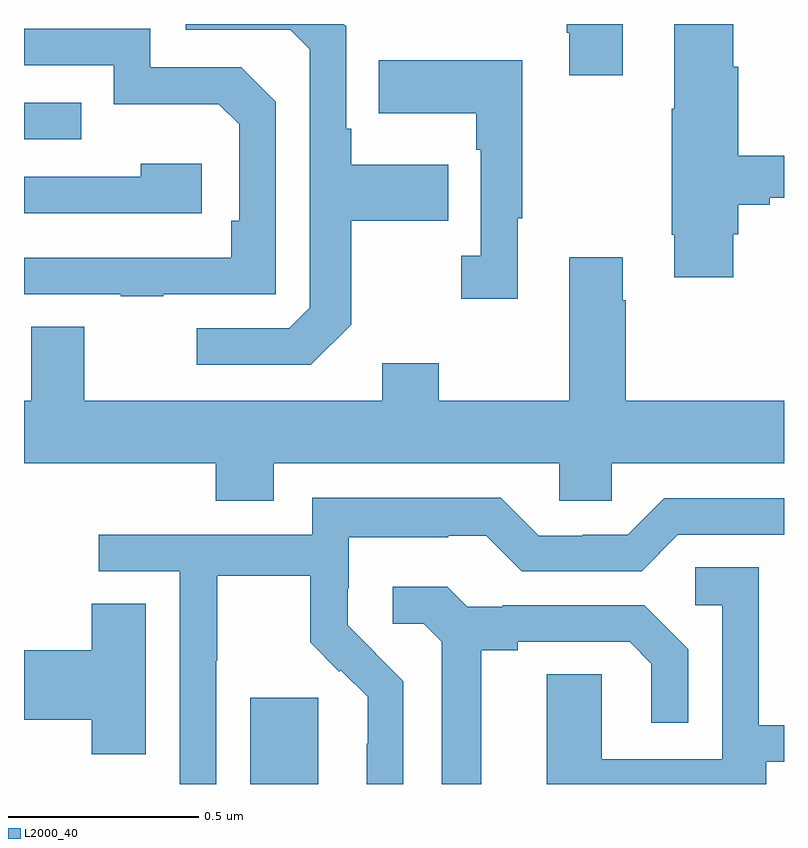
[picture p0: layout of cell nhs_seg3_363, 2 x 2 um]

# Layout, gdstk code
import gdstk
lib = gdstk.Library(unit=1e-6, precision=1e-09)
def R(c, l, rs):  # rectangles x0, y0, x1, y1
    for r in rs: c.add(gdstk.rectangle(r[:2], r[2:], *l))
def P(c, l, *ps):  # polygons
    for p in ps: c.add(gdstk.Polygon(p, *l))
L2000_40 = (2000, 40)

nhs_seg3_363 = lib.new_cell('nhs_seg3_363')
R(nhs_seg3_363, L2000_40, [(115.595,705.4,115.774,705.627), (115,707.097,115.151,707.193)])
P(nhs_seg3_363, L2000_40, [(116.575,707.4),(116.428,707.4),(116.428,707.377),(116.435,707.377),(116.435,707.265),(116.575,707.265)],
  [(115.861,706.609),(115.861,706.882),(116.117,706.882),(116.117,707.029),(115.861,707.029),(115.861,707.125),(115.848,707.125),(115.848,707.394),(115.842,707.4),(115.425,707.4),(115.425,707.385),(115.701,707.385),(115.752,707.334),(115.752,706.653),(115.698,706.599),(115.455,706.599),(115.455,706.503),(115.755,706.503)],
  [(116.866,706.847),(116.879,706.847),(116.879,706.924),(116.962,706.924),(116.962,706.943),(117,706.943),(117,707.053),(116.879,707.053),(116.879,707.288),(116.866,707.288),(116.866,707.4),(116.711,707.4),(116.711,707.177),(116.704,707.177),(116.704,706.846),(116.711,706.846),(116.711,706.734),(116.866,706.734)],
  [(115.367,706.689),(115.662,706.689),(115.662,707.196),(115.572,707.286),(115.332,707.286),(115.332,707.388),(115,707.388),(115,707.292),(115.236,707.292),(115.236,707.189),(115.513,707.189),(115.566,707.136),(115.566,706.882),(115.546,706.882),(115.546,706.785),(115,706.785),(115,706.689),(115.255,706.689),(115.255,706.684),(115.367,706.684)],
  [(116.299,706.889),(116.311,706.889),(116.311,707.305),(115.933,707.305),(115.933,707.165),(116.19,707.165),(116.19,707.069),(116.202,707.069),(116.202,706.79),(116.151,706.79),(116.151,706.677),(116.299,706.677)],
  [(115.468,707.032),(115.307,707.032),(115.307,706.998),(115,706.998),(115,706.902),(115.468,706.902)],
  [(115.657,706.244),(116.409,706.244),(116.409,706.146),(116.547,706.146),(116.547,706.244),(117,706.244),(117,706.408),(116.583,706.408),(116.583,706.673),(116.575,706.673),(116.575,706.786),(116.435,706.786),(116.435,706.408),(116.091,706.408),(116.091,706.507),(115.943,706.507),(115.943,706.408),(115.159,706.408),(115.159,706.603),(115.019,706.603),(115.019,706.408),(115,706.408),(115,706.244),(115.505,706.244),(115.505,706.145),(115.657,706.145)],
  [(115.506,705.724),(115.509,705.724),(115.509,705.948),(115.753,705.948),(115.753,705.773),(115.83,705.696),(115.833,705.699),(115.904,705.629),(115.904,705.506),(115.902,705.506),(115.902,705.4),(115.998,705.4),(115.998,705.67),(115.925,705.743),(115.926,705.744),(115.852,705.818),(115.852,705.915),(115.854,705.915),(115.854,706.049),(116.117,706.049),(116.117,706.053),(116.217,706.053),(116.31,705.96),(116.625,705.96),(116.721,706.056),(117,706.056),(117,706.152),(116.685,706.152),(116.589,706.056),(116.471,706.056),(116.471,706.053),(116.355,706.053),(116.255,706.153),(115.758,706.153),(115.758,706.056),(115.197,706.056),(115.197,705.96),(115.41,705.96),(115.41,705.4),(115.506,705.4)],
  [(116.953,705.459),(117,705.459),(117,705.555),(116.934,705.555),(116.934,705.971),(116.766,705.971),(116.766,705.87),(116.838,705.87),(116.838,705.465),(116.52,705.465),(116.52,705.689),(116.375,705.689),(116.375,705.4),(116.953,705.4)],
  [(116.203,705.752),(116.299,705.752),(116.299,705.774),(116.594,705.774),(116.651,705.717),(116.651,705.561),(116.748,705.561),(116.748,705.754),(116.632,705.87),(116.26,705.87),(116.26,705.867),(116.166,705.867),(116.114,705.919),(115.971,705.919),(115.971,705.822),(116.052,705.822),(116.099,705.775),(116.099,705.4),(116.203,705.4)],
  [(115.321,705.875),(115.178,705.875),(115.178,705.752),(115,705.752),(115,705.569),(115.178,705.569),(115.178,705.478),(115.321,705.478)])

lib.write_gds('nhs_seg3_363.gds')
